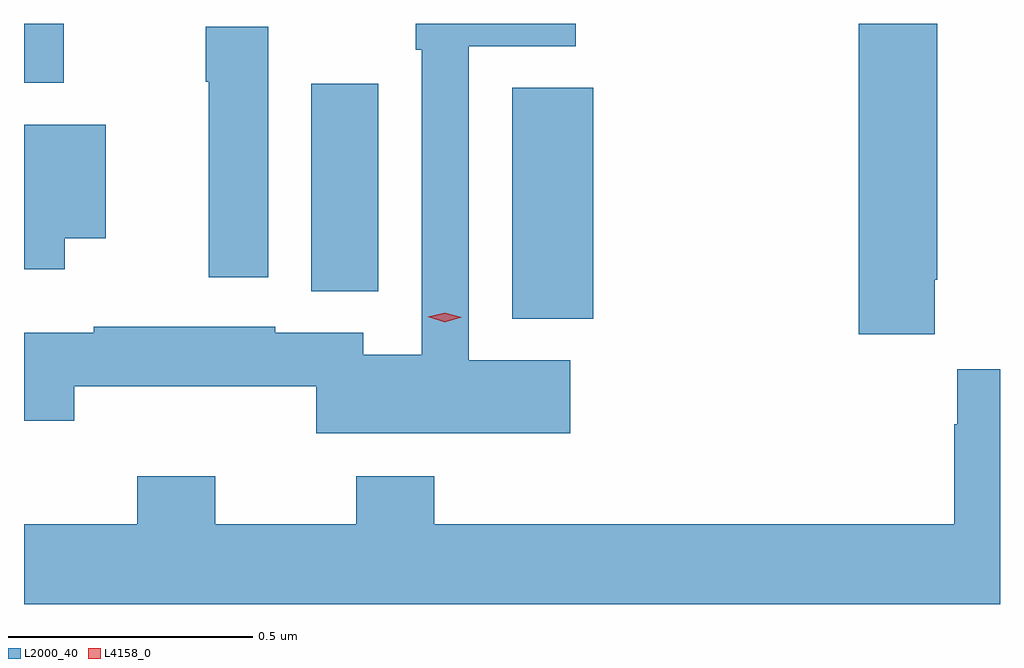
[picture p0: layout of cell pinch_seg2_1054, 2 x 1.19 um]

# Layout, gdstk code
import gdstk
lib = gdstk.Library(unit=1e-6, precision=1e-09)
def R(c, l, rs):  # rectangles x0, y0, x1, y1
    for r in rs: c.add(gdstk.rectangle(r[:2], r[2:], *l))
def P(c, l, *ps):  # polygons
    for p in ps: c.add(gdstk.Polygon(p, *l))
L2000_40 = (2000, 40)
L4158_0 = (4158, 0)

pinch_seg2_1054 = lib.new_cell('pinch_seg2_1054')
R(pinch_seg2_1054, L2000_40, [(307.619,598.937,307.786,599.411), (307.208,598.994,307.345,599.419), (306.619,599.421,306.7,599.542)])
P(pinch_seg2_1054, L2000_40, [(308.485,599.017),(308.49,599.017),(308.49,599.542),(308.33,599.542),(308.33,598.905),(308.485,598.905)],
  [(307.738,598.852),(307.53,598.852),(307.53,599.496),(307.75,599.496),(307.75,599.542),(307.422,599.542),(307.422,599.489),(307.434,599.489),(307.434,598.864),(307.314,598.864),(307.314,598.909),(307.134,598.909),(307.134,598.921),(306.762,598.921),(306.762,598.909),(306.619,598.909),(306.619,598.728),(306.722,598.728),(306.722,598.799),(307.218,598.799),(307.218,598.703),(307.738,598.703)],
  [(307.12,599.536),(306.991,599.536),(306.991,599.423),(306.998,599.423),(306.998,599.022),(307.12,599.022)],
  [(306.702,599.102),(306.787,599.102),(306.787,599.335),(306.619,599.335),(306.619,599.039),(306.702,599.039)],
  [(308.619,598.834),(308.531,598.834),(308.531,598.721),(308.525,598.721),(308.525,598.516),(307.46,598.516),(307.46,598.615),(307.3,598.615),(307.3,598.516),(307.011,598.516),(307.011,598.615),(306.851,598.615),(306.851,598.516),(306.619,598.516),(306.619,598.352),(308.619,598.352)])
P(pinch_seg2_1054, L4158_0, [(307.481,598.93),(307.446,598.941),(307.446,598.941),(307.446,598.941),(307.481,598.95),(307.516,598.94),(307.516,598.94),(307.516,598.94)])

lib.write_gds('pinch_seg2_1054.gds')
